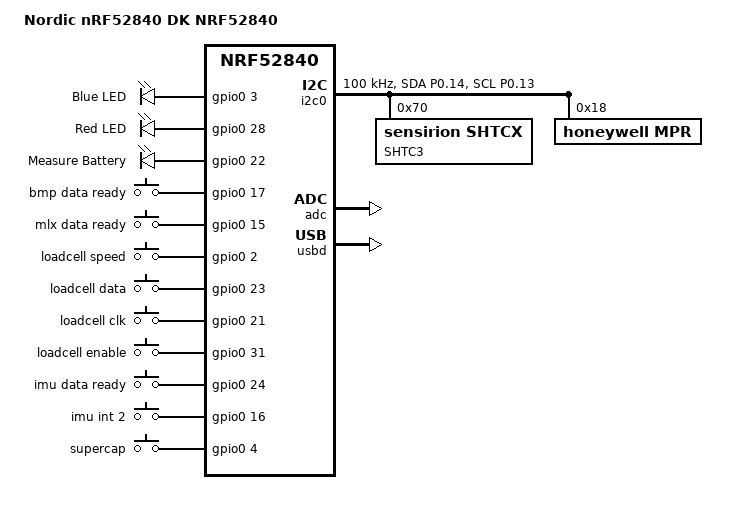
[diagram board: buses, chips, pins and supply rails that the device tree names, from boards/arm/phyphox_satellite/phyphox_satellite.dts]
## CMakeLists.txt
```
# SPDX-License-Identifier: Apache-2.0

cmake_minimum_required(VERSION 3.20.0)

list(APPEND BOARD_ROOT ${CMAKE_CURRENT_SOURCE_DIR})

find_package(Zephyr REQUIRED HINTS $ENV{ZEPHYR_BASE})
project(phyphox_satellite)

target_sources(app PRIVATE src/ble.c)
target_sources(app PRIVATE src/bas.c)
target_sources(app PRIVATE src/mprls.c)
target_sources(app PRIVATE src/sensors.h)
target_sources(app PRIVATE src/led.c)
#target_sources(app PRIVATE src/waermelehre/ds18b20.c)
#target_sources(app PRIVATE src/waermelehre/ds18b20_sensor.c)
target_sources(app PRIVATE src/shtc3.c)
target_sources(app PRIVATE src/icm42605.c)

target_sources(app PRIVATE src/mlxZephyr.c)
target_sources(app PRIVATE src/mlx90393.c)
target_sources(app PRIVATE src/bmp3.c)
target_sources(app PRIVATE src/bmpZephyr.c)
target_sources(app PRIVATE src/ds18b20.c)
target_sources(app PRIVATE src/ads1231.c)
target_sources(app PRIVATE src/main.c)
#target_compile_options(app PRIVATE -Wno-unused-function)
```

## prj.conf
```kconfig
# Basic
CONFIG_CLOCK_CONTROL_NRF_K32SRC_RC=y
CONFIG_CBPRINTF_FP_SUPPORT=y

# --------------
# RTT Debugging
#
# COMMENT FOR LOW POWER
#---------------
#CONFIG_PRINTK=y
#CONFIG_USE_SEGGER_RTT=y
#CONFIG_RTT_CONSOLE=y
#CONFIG_UART_CONSOLE=n

#UNCOMMENT FOR LOW POWER (RTT debugging not working anymore)
CONFIG_CONSOLE=n
CONFIG_SERIAL=n
CONFIG_PM=y

# --------------
# Bluetooth
#---------------
CONFIG_BT=y
CONFIG_BT_PERIPHERAL=y
CONFIG_BT_SMP=n
CONFIG_BT_DEVICE_NAME="Satellite S0000"
CONFIG_BT_DEVICE_NAME_DYNAMIC=y
CONFIG_BT_DEVICE_NAME_MAX=65
CONFIG_BT_MAX_CONN=15
CONFIG_BT_LL_SW_SPLIT=y
# Serial Number
CONFIG_BT_DIS_SERIAL_NUMBER=y
CONFIG_BT_DIS_SERIAL_NUMBER_STR="S0000"
CONFIG_BT_BAS=y 
#Device Information Service (DIS)
CONFIG_BT_DIS=y
CONFIG_BT_DIS_PNP=n
CONFIG_BT_DIS_MANUF="phyphox"
CONFIG_BT_DIS_MODEL="satellite"
#Firmware Version
CONFIG_BT_DIS_FW_REV=y
CONFIG_BT_DIS_FW_REV_STR="0.1.0"
#Hardware Version
CONFIG_BT_DIS_HW_REV=y
CONFIG_BT_DIS_HW_REV_STR="0.1"
# increase throughput
CONFIG_BT_USER_PHY_UPDATE=y
####CONFIG_BT_GAP_AUTO_UPDATE_CONN_PARAMS #should we use this? 
CONFIG_BT_BUF_ACL_RX_SIZE=256
CONFIG_BT_ATT_PREPARE_COUNT=2
CONFIG_BT_L2CAP_TX_BUF_COUNT=10
CONFIG_BT_L2CAP_TX_MTU=498
#CONFIG_BT_L2CAP_TX_MTU=252
CONFIG_BT_L2CAP_DYNAMIC_CHANNEL=y
CONFIG_BT_CONN_TX_MAX=10
CONFIG_BT_BUF_ACL_TX_COUNT=10
CONFIG_BT_BUF_ACL_TX_SIZE=251
CONFIG_BT_CTLR_DATA_LENGTH_MAX=251
CONFIG_BT_CTLR_PHY_2M=y
CONFIG_BT_CTLR_RX_BUFFERS=2
CONFIG_BT_CTLR_SDC_MAX_CONN_EVENT_LEN_DEFAULT=4000000
CONFIG_BT_USER_DATA_LEN_UPDATE=y
CONFIG_BT_AUTO_DATA_LEN_UPDATE=y

# --------------
# LED
#---------------
CONFIG_GPIO=y
CONFIG_LED=y
CONFIG_LED_GPIO=y

# --------------
# Sensoren
# --------------
CONFIG_SENSOR=y
CONFIG_I2C=y

CONFIG_MPR=y
CONFIG_MPR_PRESSURE_RANGE_0025=y
CONFIG_MPR_PRESSURE_UNIT_P=y        #picked psi as it seems to be actually kPa (and vice versa)
CONFIG_MPR_TRANSFER_FUNCTION_A=y

CONFIG_SHTCX=y

#ADC
CONFIG_ADC=y
CONFIG_ADC_ASYNC=y
CONFIG_ADC_NRFX_SAADC=y
CONFIG_NRFX_SAADC=y

# BLE FIRMWARE UPDATES
CONFIG_MCUMGR=y
CONFIG_MCUMGR_CMD_IMG_MGMT=y
CONFIG_MCUMGR_CMD_OS_MGMT=y
CONFIG_BOOTLOADER_MCUBOOT=y
CONFIG_BT_L2CAP_TX_MTU=252
CONFIG_BT_BUF_ACL_RX_SIZE=256
CONFIG_MCUMGR_SMP_BT=y
CONFIG_MCUMGR_SMP_BT_AUTHEN=n
CONFIG_SYSTEM_WORKQUEUE_STACK_SIZE=4096

# Needed to use math.h
CONFIG_NEWLIB_LIBC=y
CONFIG_NEWLIB_LIBC_FLOAT_PRINTF=y
```

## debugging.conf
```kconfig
# Basic
CONFIG_CLOCK_CONTROL_NRF_K32SRC_RC=y
CONFIG_CBPRINTF_FP_SUPPORT=y

# --------------
# RTT Debugging
#
# COMMENT FOR LOW POWER
#---------------
CONFIG_PRINTK=y
CONFIG_CONSOLE=y
CONFIG_USE_SEGGER_RTT=y
CONFIG_RTT_CONSOLE=y
CONFIG_LOG=y
CONFIG_LOG_PRINTK=y
CONFIG_LOG_BACKEND_RTT=y
CONFIG_THREAD_NAME=y

#CONFIG_USE_SEGGER_RTT=y
#CONFIG_RTT_CONSOLE=y
#CONFIG_UART_CONSOLE=n

#UNCOMMENT FOR LOW POWER (RTT debugging not working anymore)
#CONFIG_CONSOLE=n
#CONFIG_SERIAL=n
#CONFIG_PM=y

# --------------
# Bluetooth
#---------------
CONFIG_BT=y
CONFIG_BT_PERIPHERAL=y
CONFIG_BT_SMP=y
CONFIG_BT_DEVICE_NAME="Satellite S0000"
CONFIG_BT_DEVICE_NAME_DYNAMIC=y
CONFIG_BT_DEVICE_NAME_MAX=65
CONFIG_BT_MAX_CONN=1
CONFIG_BT_LL_SW_SPLIT=y
# Serial Number
CONFIG_BT_DIS_SERIAL_NUMBER=y
CONFIG_BT_DIS_SERIAL_NUMBER_STR="S0000"
CONFIG_BT_BAS=y 
#Device Information Service (DIS)
CONFIG_BT_DIS=y
CONFIG_BT_DIS_PNP=n
CONFIG_BT_DIS_MANUF="phyphox"
CONFIG_BT_DIS_MODEL="satellite"
#Firmware Version
CONFIG_BT_DIS_FW_REV=y
CONFIG_BT_DIS_FW_REV_STR="1.1"
#Hardware Version
CONFIG_BT_DIS_HW_REV=y
CONFIG_BT_DIS_HW_REV_STR="0.1"
# increase throughput
CONFIG_BT_USER_PHY_UPDATE=y
####CONFIG_BT_GAP_AUTO_UPDATE_CONN_PARAMS #should we use this? 
CONFIG_BT_BUF_ACL_RX_SIZE=256
CONFIG_BT_ATT_PREPARE_COUNT=2
CONFIG_BT_L2CAP_TX_BUF_COUNT=10
CONFIG_BT_L2CAP_TX_MTU=498
#CONFIG_BT_L2CAP_TX_MTU=252
CONFIG_BT_L2CAP_DYNAMIC_CHANNEL=y
CONFIG_BT_CONN_TX_MAX=10
CONFIG_BT_BUF_ACL_TX_COUNT=10
CONFIG_BT_BUF_ACL_TX_SIZE=251
CONFIG_BT_CTLR_DATA_LENGTH_MAX=251
CONFIG_BT_CTLR_PHY_2M=y
CONFIG_BT_CTLR_RX_BUFFERS=2
#CONFIG_BT_CTLR_SDC_MAX_CONN_EVENT_LEN_DEFAULT=4000000
CONFIG_BT_USER_DATA_LEN_UPDATE=y
CONFIG_BT_AUTO_DATA_LEN_UPDATE=y

CONFIG_BOOTLOADER_MCUBOOT=y

CONFIG_BT_L2CAP_TX_MTU=247

CONFIG_BT_L2CAP_DYNAMIC_CHANNEL=y

CONFIG_BT_BUF_ACL_RX_SIZE=251

CONFIG_BT_BUF_ACL_TX_SIZE=251

CONFIG_BT_CTLR_RX_BUFFERS=2

CONFIG_BT_USER_PHY_UPDATE=y
CONFIG_BT_CTLR_PHY_2M=y
CONFIG_BT_USER_DATA_LEN_UPDATE=y
CONFIG_BT_AUTO_DATA_LEN_UPDATE=y
CONFIG_BT_CTLR_DATA_LENGTH_MAX=251

CONFIG_BT_ATT_PREPARE_COUNT=2
# Enable the Bluetooth (unauthenticated) and shell mcumgr transports.
CONFIG_MCUMGR_TRANSPORT_BT=y
CONFIG_MCUMGR_TRANSPORT_BT_AUTHEN=n

CONFIG_ASSERT=y
# Some command handlers require a large stack.
CONFIG_MAIN_STACK_SIZE=8192
CONFIG_BT_RX_STACK_SIZE=8192
CONFIG_SYSTEM_WORKQUEUE_STACK_SIZE=8192
# --------------
# LED
#---------------
CONFIG_GPIO=y
CONFIG_LED=y
CONFIG_LED_GPIO=y

# --------------
# Sensoren
# --------------
CONFIG_SENSOR=y
CONFIG_I2C=y

CONFIG_MPR=y
CONFIG_MPR_PRESSURE_RANGE_0025=y
CONFIG_MPR_PRESSURE_UNIT_P=y        #picked psi as it seems to be actually kPa (and vice versa)
CONFIG_MPR_TRANSFER_FUNCTION_A=y

CONFIG_SHTCX=y
CONFIG_PINCTRL=y
#ADC
CONFIG_ADC=y
CONFIG_ADC_ASYNC=y
CONFIG_ADC_NRFX_SAADC=y
CONFIG_NRFX_SAADC=y

# BLE FIRMWARE UPDATES
CONFIG_MCUMGR=y
#CONFIG_MCUMGR_CMD_IMG_MGMT=y
#CONFIG_MCUMGR_CMD_OS_MGMT=y
CONFIG_BOOTLOADER_MCUBOOT=y
CONFIG_BT_L2CAP_TX_MTU=252
CONFIG_BT_BUF_ACL_RX_SIZE=256
#CONFIG_MCUMGR_SMP_BT=y
#CONFIG_MCUMGR_SMP_BT_AUTHEN=n

# Needed to use math.h
CONFIG_NEWLIB_LIBC=y
CONFIG_NEWLIB_LIBC_FLOAT_PRINTF=y
```

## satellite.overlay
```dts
myi2c: &i2c0 {
    compatible = "nordic,nrf-twim";
    status = "okay";
    sda-pin = < 14 >;
    scl-pin = < 13 >;
    label = "myi2c";
    clock-frequency = <I2C_BITRATE_STANDARD>;  
};
```

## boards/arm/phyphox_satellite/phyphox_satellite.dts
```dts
/*
 * Copyright (c) 2017 Linaro Limited
 *
 * SPDX-License-Identifier: Apache-2.0
 */

 /dts-v1/;
 #include <nordic/nrf52840_qiaa.dtsi>
 
 / {
	 model = "Nordic nRF52840 DK NRF52840";
	 compatible = "nordic,nrf52840-dk-nrf52840";

	 aliases {
		i2c = &i2c0;
		blue-led = &led0;
		red-led = &led1;
		measure-battery = &led2;
		shtc-3 = &shtc3_node;
		mpr-ls = &mprls_node;
	 };
 
	 chosen {
		 zephyr,console = &uart0;
		 zephyr,shell-uart = &uart0;
		 zephyr,uart-mcumgr = &uart0;
		 zephyr,bt-mon-uart = &uart0;
		 zephyr,bt-c2h-uart = &uart0;
		 zephyr,sram = &sram0;
		 zephyr,flash = &flash0;
		 zephyr,code-partition = &slot0_partition;
	 };
 
	 leds {
		 compatible = "gpio-leds";
		 led0: led_0 {
			 gpios = <&gpio0 3 GPIO_ACTIVE_HIGH>;
			 label = "Blue LED";
		 };
		 led1: led_1 {
			 gpios = <&gpio0 28 GPIO_ACTIVE_HIGH>;
			 label = "Red LED";
		 };
		 led2: led_2 {
			gpios = <&gpio0 22 GPIO_ACTIVE_HIGH>;
			label = "Measure Battery";
		};		 
	 };
 
 
	 buttons {
		 compatible = "gpio-keys";
//		 button0: button_0 {	//20 1wire 
//			 gpios = <&gpio0 20 (GPIO_ACTIVE_HIGH)>;
//			 label = "1wire";
//		 };
		 button1: button_1 { // 17 bmp
			 gpios = <&gpio0 17 (GPIO_ACTIVE_HIGH)>;
			 label = "bmp data ready";
		 };
		 button2: button_2 {
			 gpios = <&gpio0 15 (GPIO_ACTIVE_HIGH)>;
			 label = "mlx data ready";
		 };
		 button3: button_3 {
			 gpios = <&gpio0 2 (GPIO_ACTIVE_HIGH)>;
			 label = "loadcell speed";
		 };
		 button4: button_4 {
			 gpios = <&gpio0 23 (GPIO_ACTIVE_HIGH)>;
			 label = "loadcell data";
		 };
		 button5: button_5 {
			 gpios = <&gpio0 21 (GPIO_ACTIVE_HIGH)>;
			 label = "loadcell clk";
		 };
		 button6: button_6 {
			 gpios = <&gpio0 31 (GPIO_ACTIVE_HIGH)>;
			 label = "loadcell enable";
		 };
		 button7: button_7 {
			 gpios = <&gpio0 24 (GPIO_ACTIVE_HIGH)>;
			 label = "imu data ready";
		 };
		 button8: button_8 {
			 gpios = <&gpio0 16 (GPIO_ACTIVE_HIGH)>;
			 label = "imu int 2";
		 };
		 button9: button_9 {
			 gpios = <&gpio0 4 (GPIO_ACTIVE_HIGH)>;
			 label = "supercap";
		 };	 				
	 };
 };

 &pinctrl {
    i2c0_default: i2c0_default {
		group1 {
			psels = <NRF_PSEL(TWIM_SDA, 0, 14)>, <NRF_PSEL(TWIM_SCL, 0, 13)>;
		};
	};
    i2c0_sleep: i2c0_sleep {
		group1 {
			psels = <NRF_PSEL(TWIM_SDA, 0, 14)>, <NRF_PSEL(TWIM_SCL, 0, 13)>;
		};
	};
};


 i2c_0: &i2c0 {
    compatible = "nordic,nrf-twim";
    status = "okay";
    //sda-pin = < 14 >;
    //scl-pin = < 13 >;
	pinctrl-0 = <&i2c0_default>;
	pinctrl-1 = <&i2c0_sleep>;
	pinctrl-names = "default", "sleep";
    label = "i2c";
    clock-frequency = <I2C_BITRATE_STANDARD>; 

	shtc3_node: shtcx@70 {
		compatible = "sensirion,shtcx";
		chip = "shtc3";
		measure-mode = "low-power";
		reg = <0x70>;
		label = "SHTC3";
	};

	mprls_node: mpr@18 {
		compatible = "honeywell,mpr";
		reg = <0x18>;
		label = "MPR";
	};
};
 
 &adc {
	 status = "okay";
 };
 
 &gpiote {
	 status = "okay";
 };
 
 &gpio0 {
	 status = "okay";
 };
 
 &gpio1 {
	 status = "okay";
 };
 
 &uart0 {
	 compatible = "nordic,nrf-uarte";
	 status = "disabled";
	 /*
	 current-speed = <115200>;
	 tx-pin = <6>;
	 rx-pin = <8>;
	 rts-pin = <5>;
	 cts-pin = <7>;
	 */
 };
 
 &flash0 {
 
	 partitions {
		 compatible = "fixed-partitions";
		 #address-cells = <1>;
		 #size-cells = <1>;
 
		 boot_partition: partition@0 {
			label = "mcuboot";
			reg = <0x00000000 0xC000>;
		};
		slot0_partition: partition@c000 {
			label = "image-0";
			reg = <0x0000C000 0x37000>;
		};
		slot1_partition: partition@43000 {
			label = "image-1";
			reg = <0x00043000 0x37000>;
		};
		storage_partition: partition@7a000 {
			label = "storage";
			reg = <0x0007A000 0x00006000>;
		};
 
	 };
 };
 
 &usbd {
	 compatible = "nordic,nrf-usbd";
	 status = "okay";
 };
 
```

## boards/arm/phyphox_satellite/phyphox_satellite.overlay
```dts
/ {
	zephyr,user {
		io-channels = <&adc 1>;
	};
};

&adc {
	#address-cells = <1>;
	#size-cells = <0>;
	channel@1 {
		reg = <1>;
		zephyr,gain = "ADC_GAIN_1_6";
		zephyr,reference = "ADC_REF_INTERNAL";
		zephyr,acquisition-time = <ADC_ACQ_TIME_DEFAULT>;
		zephyr,input-positive = <NRF_SAADC_AIN2>;
		zephyr,resolution = <12>;
	};

};
```

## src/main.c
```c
/*
 * Copyright (c) 2012-2014 Wind River Systems, Inc.
 *
 * SPDX-License-Identifier: Apache-2.0
 */

#include <zephyr/zephyr.h>
#include <zephyr/sys/printk.h>
#include <stddef.h>
#include <zephyr/sys/util.h>
#include <zephyr/types.h>

#include "led.h"
#include "bmpZephyr.h"
#include "ble.h"
#include "mlxZephyr.h"
#include "icm42605.h"
#include "shtc3.h"
#include "mprls.h"
#include "ds18b20.h"
#include "ads1231.h"

#define SLEEP_TIME_MS	1

//Toolchain/SDK 2.7
void main(void)
{
	
	printk("Hello World %s\n", CONFIG_BOARD);
	init_led();
	led_blink(red_led_dev,0,LED_ON_TIME_MS,LED_SLEEP_TIME_MS); 	// blink led until init done (led_off at the end)

	init_ble();
	int ret = i2c_configure(device_get_binding("i2c"),I2C_SPEED_SET(I2C_SPEED_FAST));

	init_shtc();
	init_mpr();
	init_bmp();
	init_mlx();
	init_icm(AFS_2G, GFS_15_125DPS, AODR_25Hz, GODR_25Hz);
	init_ds18b20();
	//init_ads1231();
	led_off(red_led_dev,0);
	init_BAS();
	

	//loadcell test

	/*
	sleep_ads1231(false);
	
	while (true)
	{
		float weight;
		long weight_raw;

		weight_raw = read_loadcell();
		weight = ads1231_data.calibrationWeight*(weight_raw-ads1231_data.unweighted)*1.0/(ads1231_data.weighted-ads1231_data.unweighted);

		printk("loadcell value raw : %ld calc %ld\n ",weight_raw,weight);
		k_sleep(K_MSEC(1000));
	}
	*/
	
}
```

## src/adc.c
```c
#include "adc.h"

const struct device *adc_dev;

#define ADC_DEVICE_NAME		DT_LABEL(DT_ALIAS(adcctrl))
#define ADC_RESOLUTION		10
#define ADC_GAIN			ADC_GAIN_1_6
#define ADC_REFERENCE		ADC_REF_INTERNAL
#define ADC_ACQUISITION_TIME	ADC_ACQ_TIME(ADC_ACQ_TIME_MICROSECONDS, 40)
#define BUFFER_SIZE			6

static bool _IsInitialized = false;
static uint8_t _LastChannel = 250;
static int16_t m_sample_buffer[BUFFER_SIZE];

int myChannel = 0;

// the channel configuration with channel not yet filled in
static struct adc_channel_cfg m_1st_channel_cfg = {
	.gain             = ADC_GAIN,
	.reference        = ADC_REFERENCE,
	.acquisition_time = ADC_ACQUISITION_TIME,
	.channel_id       = 0, // gets set during init
	.differential	  = 0,
#if CONFIG_ADC_CONFIGURABLE_INPUTS
	.input_positive   = 0, // gets set during init
#endif
};

static const struct device* getAdcDevice(void)
{
	return device_get_binding(ADC_DEVICE_NAME);
}


static const struct device* init_adc(int channel)
{
	int ret;
	const struct device *adc_dev = getAdcDevice();
	if(_LastChannel != channel)
	{
		_IsInitialized = false;
		_LastChannel = channel;
	}

	if ( adc_dev != NULL && !_IsInitialized)
	{
		// strangely channel_id gets the channel id and input_positive gets id+1
		m_1st_channel_cfg.channel_id = channel;
#if CONFIG_ADC_CONFIGURABLE_INPUTS
        m_1st_channel_cfg.input_positive = channel+1,
#endif
		ret = adc_channel_setup(adc_dev, &m_1st_channel_cfg);
		if(ret != 0)
		{
			//LOG_INF("Setting up of the first channel failed with code %d", ret);
			adc_dev = NULL;
		}
		else
		{
			_IsInitialized = true;	// we don't have any other analog users
		}
	}
	
	memset(m_sample_buffer, 0, sizeof(m_sample_buffer));
	return adc_dev;
}

// ------------------------------------------------
// read one channel of adc
// ------------------------------------------------
static int16_t readOneChannel(int channel)
{
	const struct adc_sequence sequence = {
		.options     = NULL,				// extra samples and callback
		.channels    = BIT(channel),		// bit mask of channels to read
		.buffer      = m_sample_buffer,		// where to put samples read
		.buffer_size = sizeof(m_sample_buffer),
		.resolution  = ADC_RESOLUTION,		// desired resolution
		.oversampling = 0,					// don't oversample
		.calibrate = 0						// don't calibrate
	};

	int ret;
	int16_t sample_value = BAD_ANALOG_READ;
	const struct device *adc_dev = init_adc(channel);
	if (adc_dev)
	{
		ret = adc_read(adc_dev, &sequence);
		if(ret == 0)
		{
			sample_value = m_sample_buffer[0];
		}
	}

	return sample_value;
}

// ------------------------------------------------
// high level read adc channel and convert to float voltage
// ------------------------------------------------
extern void AnalogRead()
{
	int channel = myChannel;
	int16_t sv = readOneChannel(channel);
	if(sv == BAD_ANALOG_READ)
	{
		return sv;
	}

	// Convert the result to voltage
	// Result = [V(p) - V(n)] * GAIN/REFERENCE / 2^(RESOLUTION)
																				  
	int multip = 256;
	// find 2**adc_resolution
	switch(ADC_RESOLUTION)
				
	{
		default :
		case 8 :
			multip = 256;
			break;
		case 10 :
			multip = 1024;
			break;
		case 12 :
			multip = 4096;
			break;
		case 14 :
			multip = 16384;
			break;
	}
	
	// the 3.6 relates to the voltage divider being used in my circuit
	float fout = (sv * 3.6 / multip);
	return fout;
}

void init_BAS(){
    led_off(measure_battery_dev,0);	

	init_adc(myChannel);
};

void measure_battery_level(){
    //TODO
};
```

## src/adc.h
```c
#ifndef _ADC_H   /* Include guard */
#define _ADC_H

#include <drivers/led.h>
#include <device.h>
#include <devicetree.h>
#include <drivers/adc.h>

#include <hal/nrf_saadc.h>

#define BAD_ANALOG_READ -123

#define MEASURE_NODE DT_ALIAS(measure_battery)
#define MEASURE_PARENT_CONTROLLER DT_PARENT(MEASURE_NODE)

#if DT_NODE_HAS_STATUS(MEASURE_PARENT_CONTROLLER, okay)
static const struct device *measure_battery_dev = DEVICE_DT_GET(MEASURE_PARENT_CONTROLLER);
#else
#error "Node is disabled"
#endif


static struct k_timer timer_bas;
static struct k_work work_bas;

void init_BAS();
void measure_battery_level();

extern void AnalogRead(); 

#endif
```

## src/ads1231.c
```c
#include "ads1231.h"
#include <zephyr/drivers/gpio.h>

ADS1231 ads1231_data = {
                        .offset = 0,
                        .calibrationWeight = 1080000,
                        .unweighted = 206921,
                        .weighted = 766401
                        };
const struct device * dev_ADS1231;


void init_ads1231(){
    dev_ADS1231 = device_get_binding("GPIO_0");
    gpio_pin_configure(dev_ADS1231, SCL_PIN, GPIO_OUTPUT);
    gpio_pin_configure(dev_ADS1231, PWDN_PIN, GPIO_OUTPUT);
    gpio_pin_configure(dev_ADS1231, SPEED_PIN, GPIO_OUTPUT_INACTIVE);
    gpio_pin_configure(dev_ADS1231, DOUT_PIN, GPIO_INPUT);
    sleep_ads1231(true);
}

void sleep_ads1231(bool sleep){
    gpio_pin_set(dev_ADS1231,PWDN_PIN,!sleep);
    gpio_pin_set(dev_ADS1231,SCL_PIN,0);
}

long read_loadcell(){
    long adcvalue = 0, digit = 0;
    int i=0;
    for(i=0; i<24; i++){						// 24 pulses
            gpio_pin_set(dev_ADS1231,SCL_PIN,1);
            k_busy_wait(1);
            digit = gpio_pin_get_raw(dev_ADS1231,DOUT_PIN);
            adcvalue = (adcvalue << 1) + digit;
            gpio_pin_set(dev_ADS1231,SCL_PIN,0);
            k_busy_wait(1);
    }
    adcvalue = (adcvalue << 8) / 256;
    gpio_pin_set(dev_ADS1231,SCL_PIN,1);
    k_busy_wait(1);
    gpio_pin_set(dev_ADS1231,SCL_PIN,0);
    return adcvalue;
}
```

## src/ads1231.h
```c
#ifndef _ADS1231_H
#define _ADS1231_H

#include <zephyr/zephyr.h>
#include "sensors.h"

#define SCL_PIN 21
#define DOUT_PIN 23
#define SPEED_PIN 2
#define PWDN_PIN 31

typedef struct {
	long offset;
	long calibrationWeight;
	long unweighted;
	long weighted;
	float weight;
	float timestamp;
	float array[2];
	uint8_t config[20];
}ADS1231;

extern ADS1231 ads1231_data;
extern void init_ads1231();
extern void sleep_ads1231(bool sleep);

extern long read_loadcell();

#endif
```

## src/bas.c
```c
#include "bas.h"

static int16_t m_sample_buffer[BUFFER_SIZE];

float getVoltage(){

	int ret;
	const struct adc_sequence sequence = {
		.channels = BIT(ADC_1ST_CHANNEL_ID),
		.buffer = m_sample_buffer,
		.buffer_size = sizeof(m_sample_buffer),
		.resolution = ADC_RESOLUTION,
		.oversampling = 4,
	};

	if (!adc_dev) {
		return -1;
	}

	ret = adc_read(adc_dev, &sequence);
	if (ret) {
        printk("adc_read() failed with code %d\n", ret);
	}
	float val;
	for (int i = 0; i < BUFFER_SIZE; i++) {
                //printk("ADC raw value: %d\n", m_sample_buffer[i]);
				//3.6 is max voltage with internal_ref (0.6V) and 1/6 Gain.
                val = (float)m_sample_buffer[i]*3.6/pow(2,ADC_RESOLUTION);
	}
	battery_level(val);
	return val;
}

static const struct adc_channel_cfg m_1st_channel_cfg = {
	.gain = ADC_GAIN,
	.reference = ADC_REFERENCE,
	.acquisition_time = ADC_ACQUISITION_TIME,
	.channel_id = ADC_1ST_CHANNEL_ID,
#if defined(CONFIG_ADC_CONFIGURABLE_INPUTS)
	.input_positive = ADC_1ST_CHANNEL_INPUT,
#endif
};


extern void init_BAS(){

	//led_on(measure_battery_dev,0);
	
	int err = 0;
	adc_dev = DEVICE_DT_GET(DT_NODELABEL(adc));
	if (!adc_dev) {
        printk("device_get_binding adc \n");
    }
	err = adc_channel_setup(adc_dev, &m_1st_channel_cfg);
    if (err) {
	    printk("Error in adc setup: %d\n", err);
	}
	//init periodic updates
	k_work_init(&work_bas, update_supercap_level);
	k_timer_init(&timer_bas, time_to_update_battery_service,NULL);
	k_timer_start(&timer_bas,K_SECONDS(1),K_SECONDS(10));
};

void update_supercap_level(){
	set_supercap_level(battery_level(getVoltage()));
};

void time_to_update_battery_service(){
	k_work_submit(&work_bas);
}

uint8_t battery_level(float adc_voltage){
	int bat;
	float cap_voltage = adc_voltage*11;
	//boost-buck converter works between 0.6V to 5V
	//energy: 0.5*5F*voltage^2
	float max_energy = 2.5*(pow(5,2)-pow(0.6,2));
	float current_energy = 2.5*pow(cap_voltage,2);
	bat = (uint8_t)current_energy*100/max_energy;
	//printk("adc: %f cap: %f maxE: %f currentE: %f bat: %i\n",adc_voltage,cap_voltage,max_energy,current_energy, bat);
	return bat;
};
```

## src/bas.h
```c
#ifndef _BAS_H   /* Include guard */
#define _BAS_H

#include <zephyr/drivers/led.h>
#include <zephyr/device.h>
#include <zephyr/devicetree.h>
#include <zephyr/drivers/adc.h>
#include <hal/nrf_saadc.h>
#include <math.h>

#define ADC_RESOLUTION		12
#define ADC_GAIN			ADC_GAIN_1_6
#define ADC_REFERENCE		ADC_REF_INTERNAL
#define ADC_ACQUISITION_TIME	ADC_ACQ_TIME(ADC_ACQ_TIME_MICROSECONDS, 10)
#define BUFFER_SIZE			1
#define BAD_ANALOG_READ -123

#define ADC_1ST_CHANNEL_ID 2  
#define ADC_1ST_CHANNEL_INPUT NRF_SAADC_INPUT_AIN2

//#define ADC_CHANNEL          DT_IO_CHANNELS_INPUT_BY_IDX(DT_PATH(zephyr_user), 0)
//#define ADC_NODE		     DT_PHANDLE(DT_PATH(zephyr_user), io_channels)
//#define ADC_NUM_CHANNELS	 DT_PROP_LEN(DT_PATH(zephyr_user), io_channels)

#define MEASURE_NODE DT_ALIAS(measure_battery)
#define MEASURE_PARENT_CONTROLLER DT_PARENT(MEASURE_NODE)

#if DT_NODE_HAS_STATUS(MEASURE_PARENT_CONTROLLER, okay)
static const struct device *measure_battery_dev = DEVICE_DT_GET(MEASURE_PARENT_CONTROLLER);
#else
#error "Node is disabled"
#endif

#define ADC_DEVICE_NAME DT_LABEL(DT_INST(0, nordic_nrf_saadc))

#define SCAP_NODE DT_NODELABEL(button9)
#define SCAP_GPIO DT_GPIO_LABEL(SCAP_NODE, gpios)
#define SCAP_PIN DT_GPIO_PIN(SCAP_NODE, gpios)
#define SCAP_FLAGS DT_GPIO_FLAGS(SCAP_NODE, gpios)

static struct k_timer timer_bas;
static struct k_work work_bas;

const static struct device *adc_dev;

extern void init_BAS();
void update_supercap_level();
float getVoltage();

uint8_t battery_level(float);
void time_to_update_battery_service();

#endif
```

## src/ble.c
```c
#include "ble.h"

char name[20];

static const struct bt_le_adv_param adv_param_normal = {
	.options = BT_LE_ADV_OPT_CONNECTABLE,
	.interval_min = BT_GAP_ADV_SLOW_INT_MIN,
	.interval_max = BT_GAP_ADV_SLOW_INT_MAX,
};

static const struct bt_le_conn_param conn_paramter = {
	.interval_min = 6,
	.interval_max = 200,
	.latency = 0,
	.timeout = 10
};

static ssize_t read_u16(struct bt_conn *conn, const struct bt_gatt_attr *attr, void *buf, uint16_t len, uint16_t offset)
{
	uint8_t *value = attr->user_data;

	return bt_gatt_attr_read(conn, attr, buf, len, offset, value, sizeof(value));
}

static ssize_t config_submits(struct bt_conn *conn, const struct bt_gatt_attr *attr, const void *buf, uint16_t len, uint16_t offset,uint8_t flags)
{
	uint8_t *value = attr->user_data;
	if (offset + len > sizeof(config_data)) {
		return BT_GATT_ERR(BT_ATT_ERR_INVALID_OFFSET);
	}
	memcpy(value + offset, buf, len);
	if(attr->uuid == &bmp_cnfg.uuid){
		submit_config_bmp();
	}
	if(attr->uuid == &shtc_cnfg.uuid){
		submit_config_shtc();
	}
	if(attr->uuid == &mlx_cnfg.uuid){
		submit_config_mlx();
	}
	if(attr->uuid == &icm_cnfg.uuid){
		submit_config_icm();
	}
	if(attr->uuid == &ds18b_cnfg.uuid){
		submit_config_ds18b20();
	}
	if(attr->uuid == &mprls_cnfg.uuid){
		submit_config_mpr();
	}
	return len;
};

BT_GATT_SERVICE_DEFINE(phyphox_gatt, 
	BT_GATT_PRIMARY_SERVICE(&data_service_uuid),
	//BMP384 
	BT_GATT_CHARACTERISTIC(&bmp_uuid,					
			       BT_GATT_CHRC_READ | BT_GATT_CHRC_NOTIFY,
			       BT_GATT_PERM_READ,
			       read_u16, NULL, &bmp_data.array[0]),
	BT_GATT_CCC(ccc_cfg_changed,
		    BT_GATT_PERM_READ | BT_GATT_PERM_WRITE),
    BT_GATT_CHARACTERISTIC(&bmp_cnfg,					
			       BT_GATT_CHRC_WRITE | BT_GATT_CHRC_NOTIFY,
			       BT_GATT_PERM_WRITE,
			       NULL, config_submits, &bmp_data.config[0]),
	BT_GATT_CCC(ccc_cfg_changed,	//notification handler
		    BT_GATT_PERM_READ | BT_GATT_PERM_WRITE),
	//SHTC
	BT_GATT_CHARACTERISTIC(&shtc_uuid,					
			       BT_GATT_CHRC_READ | BT_GATT_CHRC_NOTIFY,
			       BT_GATT_PERM_READ,
			       read_u16, NULL, &shtc_data.array[0]),
	BT_GATT_CCC(ccc_cfg_changed,
		    BT_GATT_PERM_READ | BT_GATT_PERM_WRITE),
    BT_GATT_CHARACTERISTIC(&shtc_cnfg,					
			       BT_GATT_CHRC_WRITE | BT_GATT_CHRC_NOTIFY,
			       BT_GATT_PERM_WRITE,
			       NULL, config_submits, &shtc_data.config[0]),
	BT_GATT_CCC(ccc_cfg_changed,	//notification handler
		    BT_GATT_PERM_READ | BT_GATT_PERM_WRITE),

	//DS18b20			
	BT_GATT_CHARACTERISTIC(&ds18b_uuid,					
			       BT_GATT_CHRC_READ | BT_GATT_CHRC_NOTIFY,
			       BT_GATT_PERM_READ,
			       read_u16, NULL, &ds18b20_data.array[0]),
	BT_GATT_CCC(ccc_cfg_changed,
		    BT_GATT_PERM_READ | BT_GATT_PERM_WRITE),
    BT_GATT_CHARACTERISTIC(&ds18b_cnfg,					
			       BT_GATT_CHRC_WRITE | BT_GATT_CHRC_NOTIFY,
			       BT_GATT_PERM_WRITE,
			       NULL, config_submits, &ds18b20_data.config[0]),
	BT_GATT_CCC(ccc_cfg_changed,	//notification handler
		    BT_GATT_PERM_READ | BT_GATT_PERM_WRITE),			

	//MLX
	BT_GATT_CHARACTERISTIC(&mlx_uuid,					
			       BT_GATT_CHRC_READ | BT_GATT_CHRC_NOTIFY,
			       BT_GATT_PERM_READ,
			       read_u16, NULL, &mlx_data.array[0]),
	BT_GATT_CCC(ccc_cfg_changed,
		    BT_GATT_PERM_READ | BT_GATT_PERM_WRITE),
    BT_GATT_CHARACTERISTIC(&mlx_cnfg,					
			       BT_GATT_CHRC_WRITE | BT_GATT_CHRC_NOTIFY,
			       BT_GATT_PERM_WRITE,
			       NULL, config_submits, &mlx_data.config[0]),
	BT_GATT_CCC(ccc_cfg_changed,	//notification handler
		    BT_GATT_PERM_READ | BT_GATT_PERM_WRITE),
	//MPRLS
	BT_GATT_CHARACTERISTIC(&mprls_uuid,					
			       BT_GATT_CHRC_READ | BT_GATT_CHRC_NOTIFY,
			       BT_GATT_PERM_READ,
			       read_u16, NULL, &mpr_data.array[0]),
	BT_GATT_CCC(ccc_cfg_changed,
		    BT_GATT_PERM_READ | BT_GATT_PERM_WRITE),
    BT_GATT_CHARACTERISTIC(&mprls_cnfg,					
			       BT_GATT_CHRC_WRITE | BT_GATT_CHRC_NOTIFY,
			       BT_GATT_PERM_WRITE,
			       NULL, config_submits, &mpr_data.config[0]),
	BT_GATT_CCC(ccc_cfg_changed,	//notification handler
		    BT_GATT_PERM_READ | BT_GATT_PERM_WRITE),
	
	//ICM42605
	
	BT_GATT_CHARACTERISTIC(&icm_uuid_acc,				
			       BT_GATT_CHRC_READ | BT_GATT_CHRC_NOTIFY,
			       BT_GATT_PERM_READ,
			       read_u16, NULL, &icm_data.a_array[0]),
	BT_GATT_CCC(ccc_cfg_changed,
		    BT_GATT_PERM_READ | BT_GATT_PERM_WRITE),
	BT_GATT_CHARACTERISTIC(&icm_uuid_gyr,				
			       BT_GATT_CHRC_READ | BT_GATT_CHRC_NOTIFY,
			       BT_GATT_PERM_READ,
			       read_u16, NULL, &icm_data.g_array[0]),
	BT_GATT_CCC(ccc_cfg_changed,
		    BT_GATT_PERM_READ | BT_GATT_PERM_WRITE),
	BT_GATT_CHARACTERISTIC(&icm_cnfg,					
			       BT_GATT_CHRC_WRITE | BT_GATT_CHRC_NOTIFY,
			       BT_GATT_PERM_WRITE,
			       NULL, config_submits, &icm_data.config[0]),
	BT_GATT_CCC(ccc_cfg_changed,
		    BT_GATT_PERM_READ | BT_GATT_PERM_WRITE)		
);

static const struct bt_data ad[] = {
	BT_DATA_BYTES(BT_DATA_FLAGS, (BT_LE_AD_GENERAL | BT_LE_AD_NO_BREDR)),
	BT_DATA_BYTES(BT_DATA_UUID16_ALL,
		BT_UUID_16_ENCODE(BT_UUID_BAS_VAL), //battery service
		BT_UUID_16_ENCODE(BT_UUID_ESS_VAL)),//general sensor service
	BT_DATA_BYTES(BT_DATA_UUID128_ALL, 
		BT_UUID_128_ENCODE(0xcddf1001, 0x30f7, 0x4671, 0x8b43, 0x5e40ba53514a))
		//BT_UUID_128_ENCODE(0xcddf1002, 0x30f7, 0x4671, 0x8b43, 0x5e40ba53514a), 
		//BT_UUID_128_ENCODE(0xcddf1003, 0x30f7, 0x4671, 0x8b43, 0x5e40ba53514a))
};
// SCAN RESPONSE DATA
static const struct bt_data sd[] = {
/*
BT_DATA_BYTES(BT_DATA_UUID128_ALL,
		      0x84, 0xaa, 0x60, 0x74, 0x52, 0x8a, 0x8b, 0x86,
		      0xd3, 0x4c, 0xb7, 0x1d, 0x1d, 0xdc, 0x53, 0x8d),
*/
BT_DATA(BT_DATA_NAME_COMPLETE, name, 20),			  
};
static void bt_ready(void)
{
	int err;
	printk("Bluetooth initialized\n");

	uint16_t serialNumber[1];
	memcpy(&serialNumber[0], (uint8_t *)0x10001080, 2);

	if(serialNumber[0]==0x00 || serialNumber[0]==0xffff){
		serialNumber[0]=0;
	}
	printk("number: %i \r\n",serialNumber[0]);
	sprintf(name, "Satellite S%d\n", serialNumber[0]);

	//bt_set_name(name);
	

	err = bt_le_adv_start(&adv_param_normal, ad, ARRAY_SIZE(ad), sd, ARRAY_SIZE(sd));
	if (err) {
		printk("Advertising failed to start (err %d)\n", err);
		return;
	}

	printk("Advertising successfully started\n");
}

static void connected(struct bt_conn *conn, uint8_t err)
{
	printk("Device with index %i trying to connect...\n",bt_conn_index(conn));
	
	bt_conn_le_param_update(conn,&conn_paramter);
	if (err) {
		printk("Connection failed (err 0x%02x)\n", err);
	} else {
		printk("Connected\n");
	}

	led_blink_times(blue_led_dev,3);
	k_timer_start(&timer_bas,K_SECONDS(1),K_SECONDS(1));
}

static void disconnected(struct bt_conn *conn, uint8_t reason)
{
	printk("Disconnected (reason 0x%02x)\n", reason);
	k_timer_stop(&timer_bas);
	sleep_bmp(true);
	sleep_shtc(true);
	sleep_mpr(true);
	sleep_mlx(true);
	sleep_icm(true);
	sleep_ds18b20(true);
	sleep_mpr(true);
	sys_reboot();
}
static void le_param_updated(struct bt_conn *conn, uint16_t interval,
			     uint16_t latency, uint16_t timeout){
	printk("Connection parameters updated.\n"
	       " interval: %d, latency: %d, timeout: %d\n",
	       interval, latency, timeout);
}
static void le_phy_updated(struct bt_conn *conn,struct bt_conn_le_phy_info *param){
	if(DEBUG){
		printk("LE PHY updated\n");
	}
}
static bool le_param_req(struct bt_conn *conn, struct bt_le_conn_param *param){
	if(DEBUG){
		printk("Connection parameters update request received.\n");
		printk("Minimum interval: %d, Maximum interval: %d\n",
	       param->interval_min, param->interval_max);
		printk("Latency: %d, Timeout: %d\n", param->latency, param->timeout);
	}	
	return true;
}
static void le_data_len_updated(struct bt_conn *conn, struct bt_conn_le_data_len_info *info)
{
    char addr[BT_ADDR_LE_STR_LEN];

    bt_addr_le_to_str(bt_conn_get_dst(conn), addr, sizeof(addr));
	if(DEBUG){
		printk("Data length updated: %s max tx %u (%u us) max rx %u (%u us)\n",
           addr, info->tx_max_len, info->tx_max_time, info->rx_max_len,
           info->rx_max_time);
		   }
}
static struct bt_conn_cb conn_callbacks = {
	.connected = connected,
	.disconnected = disconnected,
	.le_param_req = le_param_req,
	.le_param_updated = le_param_updated,
	.le_phy_updated = le_phy_updated,
	.le_data_len_updated = le_data_len_updated,

};

void init_ble(){
	bt_enable(NULL);
	bt_ready();
	bt_conn_cb_register(&conn_callbacks);
};
extern void set_supercap_level(uint8_t val){
	bt_bas_set_battery_level(val);
}
extern void send_data(uint8_t ID, float* DATA,uint8_t LEN){
	if(ID == SENSOR_IMU_ACC_ID){
		bt_gatt_notify_uuid(NULL, &icm_uuid_acc.uuid,&phyphox_gatt.attrs[0],DATA,LEN);
		return;
	}
	if(ID == SENSOR_IMU_GYR_ID){
		bt_gatt_notify_uuid(NULL, &icm_uuid_gyr.uuid,&phyphox_gatt.attrs[0],DATA,LEN);
		return;
	}
	if(ID == SENSOR_BMP384_ID){
		bt_gatt_notify_uuid(NULL, &bmp_uuid.uuid,&phyphox_gatt.attrs[0],DATA,LEN);
		return;
	}
	if (ID == SENSOR_SHTC_ID)
	{
		bt_gatt_notify_uuid(NULL, &shtc_uuid.uuid,&phyphox_gatt.attrs[0],DATA,LEN);
		return;
	}
	if (ID == SENSOR_MLX_ID)
	{
		bt_gatt_notify_uuid(NULL, &mlx_uuid.uuid,&phyphox_gatt.attrs[0],DATA,LEN);
		return;
	}
	if (ID == SENSOR_DS18B20_ID)
	{
		bt_gatt_notify_uuid(NULL, &ds18b_uuid.uuid,&phyphox_gatt.attrs[0],DATA,LEN);
		return;
	}
	if (ID == SENSOR_MPR_ID)
	{
		bt_gatt_notify_uuid(NULL, &mprls_uuid.uuid,&phyphox_gatt.attrs[0],DATA,LEN);
		return;
	}		
};
```

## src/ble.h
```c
#ifndef _BLE_H   /* Include guard */
#define _BLE_H
#include <zephyr/toolchain.h>

#include <zephyr/zephyr.h>
#include <zephyr/drivers/gpio.h>
#include <zephyr/device.h>
#include <zephyr/bluetooth/bluetooth.h>
#include <zephyr/bluetooth/hci.h>
#include <zephyr/bluetooth/conn.h>
#include <zephyr/bluetooth/uuid.h>
#include <zephyr/bluetooth/gatt.h>
#include <zephyr/bluetooth/services/bas.h>
#include <zephyr/sys/byteorder.h>

#include <stdio.h>

#include "led.h"
#include "bas.h"

#include "bmpZephyr.h"
#include "shtc3.h"
#include "mprls.h"
#include "mlxZephyr.h"
#include "icm42605.h"
#include "ds18b20.h"

static uint8_t phyphox_data[20] = {0};
static uint8_t config_data[20] = {0};

void init_ble();
void send_data(uint8_t ID, float* DATA,uint8_t LEN);
extern void set_supercap_level(uint8_t val);

static bool notify_enabled;
static void ccc_cfg_changed(const struct bt_gatt_attr *attr,
				 uint16_t value)
{
	notify_enabled = (value == BT_GATT_CCC_NOTIFY) ? 1 : 0;
}
/* Bluetooth Display Names */
#define SENSOR_BMP384_NAME			"BMP384 Umgebungssensor"
#define SENSOR_SHTC3_NAME			"SHTC3 Umgebungssensor"
#define SENSOR_MLX90393_NAME		"MLX90393 Magnetfeldsensor"
#define SENSOR_ICM42605_NAME		"ICM42605 Gyrosensor"
#define SENSOR_DS18B20_NAME			"DS18B20 Temperatursensor"
#define SENSOR_MPRLS_NAME			"MPRLS Drucksensor"
#define SENSOR_MAX31850_NAME		"MAX31850 Temperatursensor"
#define SENSOR_ADS1231_NAME			"ADS1231 Wägezelle"
#define SENSOR_DS18B20_NAME			"DS18B20 Temperatursensor"
#define SENSOR_THERMOCOUPLE_NAME	"Thermocouple Temperatursensor"

static struct bt_uuid_128 data_service_uuid = BT_UUID_INIT_128(BT_UUID_128_ENCODE(0xcddf1001, 0x30f7, 0x4671, 0x8b43, 0x5e40ba53514a));
//static struct bt_uuid_128 data_characteristic_uuid = BT_UUID_INIT_128(BT_UUID_128_ENCODE(0xcddf0002, 0x30f7, 0x4671, 0x8b43, 0x5e40ba53514a));
//static struct bt_uuid_128 config_characteristic_uuid = BT_UUID_INIT_128(BT_UUID_128_ENCODE(0xcddf0003, 0x30f7, 0x4671, 0x8b43, 0x5e40ba53514a));

static struct bt_uuid_128 icm_uuid_acc = BT_UUID_INIT_128(BT_UUID_128_ENCODE(0xcddf1002, 0x30f7, 0x4671, 0x8b43, 0x5e40ba53514a));
static struct bt_uuid_128 icm_uuid_gyr = BT_UUID_INIT_128(BT_UUID_128_ENCODE(0xcddf1003, 0x30f7, 0x4671, 0x8b43, 0x5e40ba53514a));
static struct bt_uuid_128 icm_cnfg = BT_UUID_INIT_128(BT_UUID_128_ENCODE(0xcddf1004, 0x30f7, 0x4671, 0x8b43, 0x5e40ba53514a));

static struct bt_uuid_128 shtc_uuid = BT_UUID_INIT_128(BT_UUID_128_ENCODE(0xcddf1005, 0x30f7, 0x4671, 0x8b43, 0x5e40ba53514a));
static struct bt_uuid_128 shtc_cnfg = BT_UUID_INIT_128(BT_UUID_128_ENCODE(0xcddf1006, 0x30f7, 0x4671, 0x8b43, 0x5e40ba53514a));

static struct bt_uuid_128 bmp_uuid = BT_UUID_INIT_128(BT_UUID_128_ENCODE(0xcddf1007, 0x30f7, 0x4671, 0x8b43, 0x5e40ba53514a));
static struct bt_uuid_128 bmp_cnfg = BT_UUID_INIT_128(BT_UUID_128_ENCODE(0xcddf1008, 0x30f7, 0x4671, 0x8b43, 0x5e40ba53514a)); 

static struct bt_uuid_128 mlx_uuid = BT_UUID_INIT_128(BT_UUID_128_ENCODE(0xcddf1009, 0x30f7, 0x4671, 0x8b43, 0x5e40ba53514a)); 
static struct bt_uuid_128 mlx_cnfg = BT_UUID_INIT_128(BT_UUID_128_ENCODE(0xcddf100a, 0x30f7, 0x4671, 0x8b43, 0x5e40ba53514a)); 

static struct bt_uuid_128 loadcell_uuid = BT_UUID_INIT_128(BT_UUID_128_ENCODE(0xcddf100b, 0x30f7, 0x4671, 0x8b43, 0x5e40ba53514a)); 
static struct bt_uuid_128 loadcell_cnfg = BT_UUID_INIT_128(BT_UUID_128_ENCODE(0xcddf100c, 0x30f7, 0x4671, 0x8b43, 0x5e40ba53514a)); 

static struct bt_uuid_128 mprls_uuid = BT_UUID_INIT_128(BT_UUID_128_ENCODE(0xcddf100d, 0x30f7, 0x4671, 0x8b43, 0x5e40ba53514a)); 
static struct bt_uuid_128 mprls_cnfg = BT_UUID_INIT_128(BT_UUID_128_ENCODE(0xcddf100e, 0x30f7, 0x4671, 0x8b43, 0x5e40ba53514a)); 

static struct bt_uuid_128 thermo_uuid = BT_UUID_INIT_128(BT_UUID_128_ENCODE(0xcddf100f, 0x30f7, 0x4671, 0x8b43, 0x5e40ba53514a)); 
static struct bt_uuid_128 thermo_cnfg = BT_UUID_INIT_128(BT_UUID_128_ENCODE(0xcddf1010, 0x30f7, 0x4671, 0x8b43, 0x5e40ba53514a)); 

static struct bt_uuid_128 ds18b_uuid = BT_UUID_INIT_128(BT_UUID_128_ENCODE(0xcddf1011, 0x30f7, 0x4671, 0x8b43, 0x5e40ba53514a)); 
static struct bt_uuid_128 ds18b_cnfg = BT_UUID_INIT_128(BT_UUID_128_ENCODE(0xcddf1012, 0x30f7, 0x4671, 0x8b43, 0x5e40ba53514a));

static struct bt_uuid_128 hardware_uuid = BT_UUID_INIT_128(BT_UUID_128_ENCODE(0xcddf1021, 0x30f7, 0x4671, 0x8b43, 0x5e40ba53514a)); 
static struct bt_uuid_128 hardware_cnfg = BT_UUID_INIT_128(BT_UUID_128_ENCODE(0xcddf1022, 0x30f7, 0x4671, 0x8b43, 0x5e40ba53514a));

#endif
```

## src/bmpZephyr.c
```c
#include "bmpZephyr.h"

BMP bmp_data;

static BMP3_INTF_RET_TYPE app_i2c_read(uint8_t reg_addr, uint8_t *read_data, uint32_t len, void *intf_ptr) {
	uint8_t ret;
	ret = i2c_write(intf_ptr, &reg_addr, 1, BMP384_I2C_ADDR);
	ret = i2c_read(intf_ptr, read_data, len, BMP384_I2C_ADDR);
	return ret;
}

static BMP3_INTF_RET_TYPE app_i2c_write(uint8_t reg_addr, const uint8_t *write_data, uint32_t len, void *intf_ptr) {
	uint8_t dataBuffer[len+1];
	dataBuffer[0]=reg_addr;
	memcpy(&dataBuffer[0]+1,write_data,len);
	return i2c_write(intf_ptr, &dataBuffer, len+1, BMP384_I2C_ADDR);
}

static void app_us_delay(uint32_t period, void *intf_ptr) {
	return k_busy_wait(period);
}

extern void send_data_bmp(void){
    bmpResult = bmp3_get_sensor_data(sensor_comp, &myData, &bmp388_dev);
	if(PRINT_SENSOR_DATA){
		printk("BMP: pressure: %f temp: %f\n", myData.pressure,myData.temperature);
	}

	bmp_data.pressure = myData.pressure*0.01;
	bmp_data.temperature = myData.temperature;
	
	float timestamp = k_uptime_get() /1000.0;
	bmp_data.timestamp=timestamp;

	bmp_data.array[0] = bmp_data.pressure;
	bmp_data.array[1] = bmp_data.temperature;
	bmp_data.array[2] = bmp_data.timestamp;

	send_data(SENSOR_BMP384_ID, &bmp_data.array, 4*3);
}

static const struct gpio_dt_spec bmpInt = GPIO_DT_SPEC_GET_OR(BMP_INT, gpios,{0});
static struct gpio_callback bmpInt_cb_data;

static void bmpDataReady(const struct device *dev, struct gpio_callback *cb,uint32_t pins)
{
	k_work_submit(&work_bmp);
}

static void set_config_bmp(){
	if (DEBUG){printk("BMP: setting config BMP to:\n");};

	uint8_t oversampling = bmp_data.config[1];
	uint8_t filter = bmp_data.config[2];
	if(filter == 0){
		filter = 1;
	}
	uint8_t rate = bmp_data.config[3];
	uint16_t settings_sel;

	if (DEBUG){
		printk("Enable: %d\n",bmp_data.config[0]);
		printk("Oversampling: %d\n",oversampling);
		printk("Filter: %d\n",filter);
		printk("Rate: %d\n",rate);
	};
	
    bmp388_dev.settings.press_en = BMP3_ENABLE;
    bmp388_dev.settings.temp_en = BMP3_ENABLE;
    bmp388_dev.settings.odr_filter.press_os = oversampling;
    if(oversampling == BMP3_OVERSAMPLING_16X || oversampling == BMP3_OVERSAMPLING_32X){
        bmp388_dev.settings.odr_filter.temp_os = BMP3_OVERSAMPLING_2X;
    }else {
        bmp388_dev.settings.odr_filter.temp_os = BMP3_NO_OVERSAMPLING;
    }
    
    bmp388_dev.settings.odr_filter.temp_os = BMP3_NO_OVERSAMPLING;
    bmp388_dev.settings.int_settings.drdy_en =BMP3_ENABLE;
    bmp388_dev.settings.odr_filter.iir_filter = filter;
    bmp388_dev.settings.odr_filter.odr =rate;//BMP3_ODR_25_HZ;
	settings_sel = BMP3_SEL_PRESS_OS | BMP3_SEL_TEMP_OS | BMP3_SEL_ODR | BMP3_SEL_IIR_FILTER;
    bmpResult = bmp3_set_sensor_settings(settings_sel, &bmp388_dev);           
     if (bmpResult == BMP3_SENSOR_OK){
        bmp388_dev.settings.op_mode = BMP3_MODE_NORMAL; 
        bmpResult = bmp3_set_op_mode(&bmp388_dev);
        if (bmpResult == BMP3_SENSOR_OK)
        {			
			if (DEBUG){printk("BMP mode set successfully\n");}
            bmp388_dev.delay_us(40000, bmp388_dev.intf_ptr);
            /* Sensor component selection */
            sensor_comp = BMP3_PRESS | BMP3_TEMP;
            /* Temperature and Pressure data are read and stored in the bmp3_data instance */
        }
    }
	
	k_sleep(K_MSEC(100));
	sleep_bmp(!bmp_data.config[0]);
}

int8_t init_Interrupt_BMP(){
	if (DEBUG){printk("BMP: init interrupt\n");};

    int8_t returnValue;


    if (!device_is_ready(bmpInt.port)) {
		printk("Error: bmp interrupt %s is not ready\n",
		       bmpInt.port->name);
		return 1;
	}

	returnValue = gpio_pin_configure_dt(&bmpInt, GPIO_INPUT);
	if (returnValue != 0) {
		printk("Error %d: failed to configure %s pin %d\n",
		       returnValue, bmpInt.port->name, bmpInt.pin);
		return returnValue;
	}

	returnValue = gpio_pin_interrupt_configure_dt(&bmpInt,GPIO_INT_EDGE_RISING);
	if (returnValue != 0) {
		printk("Error %d: failed to configure interrupt on %s pin %d\n",
			returnValue, bmpInt.port->name, bmpInt.pin);
		return returnValue;
	}

	gpio_init_callback(&bmpInt_cb_data, bmpDataReady, BIT(bmpInt.pin));
	gpio_add_callback(bmpInt.port, &bmpInt_cb_data);

	if(DEBUG){printk("BMP: Set up BMP Interrupt button at %s pin %d\n", bmpInt.port->name, bmpInt.pin);}
	
    return returnValue;
}

extern bool init_bmp(){

	if (DEBUG){printk("BMP: init BMP\n");};
	bmp388_dev.intf = BMP3_I2C_INTF;
	bmp388_dev.intf_ptr = bmp_dev;
	bmp388_dev.intf_rslt = bmpResult;
	bmp388_dev.dummy_byte = dByte;
	bmp388_dev.read = app_i2c_read;
	bmp388_dev.write = app_i2c_write;
	bmp388_dev.delay_us = app_us_delay;
	bmpResult = bmp3_init(&bmp388_dev);

	if(bmpResult != 0){
		printk("init error: %i \n",bmpResult);
	}
	uint16_t settings_sel;
    bmp388_dev.settings.press_en = BMP3_ENABLE;
    bmp388_dev.settings.temp_en = BMP3_ENABLE;
    bmp388_dev.settings.odr_filter.press_os = BMP3_OVERSAMPLING_2X;
    bmp388_dev.settings.odr_filter.temp_os = BMP3_NO_OVERSAMPLING;
    bmp388_dev.settings.int_settings.drdy_en =BMP3_ENABLE;
    bmp388_dev.settings.odr_filter.iir_filter = BMP3_IIR_FILTER_COEFF_3;
    bmp388_dev.settings.int_settings.level = BMP3_INT_PIN_ACTIVE_HIGH;
    bmp388_dev.settings.odr_filter.odr = BMP3_ODR_1_5_HZ;
	settings_sel = BMP3_SEL_PRESS_EN | BMP3_SEL_TEMP_EN | BMP3_SEL_PRESS_OS | BMP3_SEL_TEMP_OS | BMP3_SEL_ODR |BMP3_SEL_DRDY_EN| BMP3_SEL_LEVEL |BMP3_SEL_IIR_FILTER;
	bmpResult = bmp3_set_sensor_settings(settings_sel, &bmp388_dev); 

	if(bmpResult != 0){
		printk("BMP: set settings error: %i \n",bmpResult);
	}          
	if (bmpResult == BMP3_SENSOR_OK){
        bmp388_dev.settings.op_mode = BMP3_MODE_NORMAL;
        bmpResult = bmp3_set_op_mode(&bmp388_dev);
        if (bmpResult == BMP3_SENSOR_OK)
        {
            bmp388_dev.delay_us(40000, bmp388_dev.intf_ptr);
            /* Sensor component selection */
            sensor_comp = BMP3_PRESS | BMP3_TEMP;
            /* Temperature and Pressure data are read and stored in the bmp3_data instance */
        }
	}

	bmpResult = sleep_bmp(true);
	
	k_work_init(&work_bmp, send_data_bmp);
	k_work_init(&config_work_bmp, set_config_bmp);

	init_Interrupt_BMP();
}

extern void submit_config_bmp(){
	k_work_submit(&config_work_bmp);
};

extern uint8_t sleep_bmp(bool SLEEP){
	if(SLEEP){
		if (DEBUG){printk("BMP: sleeping\n");};
		bmp388_dev.settings.op_mode = BMP3_MODE_SLEEP;
		return bmp3_set_op_mode(&bmp388_dev);
	}else{
		if (DEBUG){printk("BMP: awaking\n");};
		bmp388_dev.settings.op_mode = BMP3_MODE_NORMAL;
		return bmp3_set_op_mode(&bmp388_dev);
	}
};
```

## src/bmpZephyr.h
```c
#ifndef _BMPZEPHYR_H
#define _BMPZEPHYR_H

#include <zephyr/kernel.h>
#include <stdint.h>
#include "bmp3.h"
#include "bmp3_defs.h"
#include <zephyr/drivers/i2c.h>
#include <zephyr/drivers/gpio.h>
#include <zephyr/drivers/sensor.h>

#include "sensors.h"
//#include "ble.h"

#define BMP_NODE DT_ALIAS(i2c)
#if DT_NODE_HAS_STATUS(BMP_NODE, okay)
const static struct device *bmp_dev = DEVICE_DT_GET(BMP_NODE);
#else
#error "Node is disabled"
#endif

typedef struct {
	float pressure;
	float temperature;
	float timestamp;
	float array[3];
	uint8_t config[20];
}BMP;

extern BMP bmp_data;

static struct sensor_value bmp_press, bmp_temp;

#define BMP_INT DT_NODELABEL(button1)
static struct k_work work_bmp;
static struct k_work config_work_bmp;

extern bool init_bmp();
extern void submit_config_bmp();
extern uint8_t sleep_bmp(bool SLEEP);

// ----------------
// Driver variables
// ----------------
#define BMP3_SENSOR_OK 0x00
#define BMP384_I2C_ADDR	0x76
static int8_t bmpResult;
static uint8_t dByte;

static struct bmp3_dev bmp388_dev;
static struct bmp3_data myData;
static uint8_t sensor_comp = BMP3_PRESS | BMP3_TEMP;
static int16_t counter=0;

#endif
```
